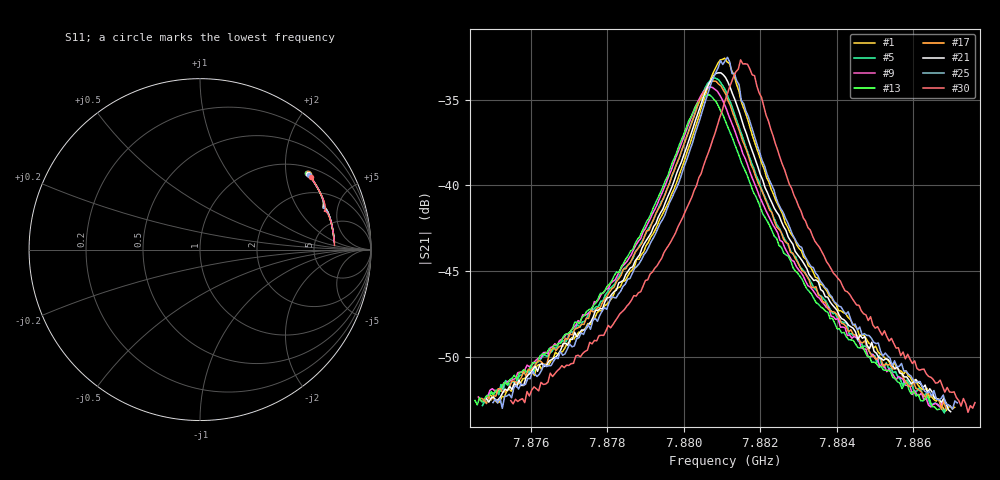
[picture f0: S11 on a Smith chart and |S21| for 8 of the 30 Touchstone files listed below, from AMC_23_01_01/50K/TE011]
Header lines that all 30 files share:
#  HZ  S  DB  R  50.00
! Rohde & Schwarz Vector Network Analyzer
! Rohde-Schwarz,ZNB20-2Port,1311601062101988,3.16
! freq[Hz]  db:S11  ang:S11  db:S21  ang:S21  db:S12  ang:S12  db:S22  ang:S22
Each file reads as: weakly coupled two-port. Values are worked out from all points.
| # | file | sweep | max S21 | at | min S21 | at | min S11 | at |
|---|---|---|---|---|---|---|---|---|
| 1 | 48_ST42.997_UT51.918_H26421.11.s2p | 7.87495 GHz to 7.88708 GHz | -32.57 dB | 7.88107 GHz | -53.2 dB | 7.88684 GHz | -2.4 dB | 7.88101 GHz |
| 2 | 60_ST43.001_UT51.887_H36250.34.s2p | 7.87488 GHz to 7.88701 GHz | -32.88 dB | 7.88089 GHz | -53.3 dB | 7.88701 GHz | -2.4 dB | 7.88089 GHz |
| 3 | 75_ST42.998_UT51.845_H48529.31.s2p | 7.8748 GHz to 7.88693 GHz | -33.50 dB | 7.88086 GHz | -53.4 dB | 7.88674 GHz | -2.4 dB | 7.88086 GHz |
| 4 | 77_ST43.001_UT51.839_H50239.62.s2p | 7.87478 GHz to 7.88691 GHz | -33.57 dB | 7.88079 GHz | -53.1 dB | 7.88691 GHz | -2.4 dB | 7.88079 GHz |
| 5 | 84_ST43.0_UT51.815_H55928.62.s2p | 7.87474 GHz to 7.88687 GHz | -33.72 dB | 7.8808 GHz | -53.3 dB | 7.88681 GHz | -2.3 dB | 7.8808 GHz |
| 6 | 87_ST42.998_UT51.807_H58431.04.s2p | 7.87473 GHz to 7.88686 GHz | -33.81 dB | 7.88079 GHz | -53.2 dB | 7.8868 GHz | -2.3 dB | 7.88079 GHz |
| 7 | 92_ST42.998_UT51.791_H62535.6.s2p | 7.8747 GHz to 7.88683 GHz | -33.99 dB | 7.88077 GHz | -53.2 dB | 7.88683 GHz | -2.3 dB | 7.88071 GHz |
| 8 | 102_ST42.999_UT51.759_H70816.34.s2p | 7.87465 GHz to 7.88678 GHz | -34.22 dB | 7.88071 GHz | -53.0 dB | 7.88659 GHz | -2.3 dB | 7.88077 GHz |
| 9 | 104_ST42.999_UT51.754_H72440.59.s2p | 7.87463 GHz to 7.88676 GHz | -34.25 dB | 7.8807 GHz | -52.9 dB | 7.8867 GHz | -2.3 dB | 7.88064 GHz |
| 10 | 105_ST43.001_UT51.749_H73271.31.s2p | 7.87463 GHz to 7.88676 GHz | -34.28 dB | 7.8807 GHz | -53.3 dB | 7.8867 GHz | -2.3 dB | 7.88076 GHz |
| 11 | 118_ST42.996_UT51.707_H83919.95.s2p | 7.87456 GHz to 7.88669 GHz | -34.61 dB | 7.88063 GHz | -53.1 dB | 7.88657 GHz | -2.3 dB | 7.88057 GHz |
| 12 | 126_ST43.002_UT51.685_H89999.71.s2p | 7.87453 GHz to 7.88666 GHz | -34.75 dB | 7.88059 GHz | -52.9 dB | 7.88666 GHz | -2.3 dB | 7.88059 GHz |
| 13 | 128_ST43.001_UT51.688_H88822.04.s2p | 7.87455 GHz to 7.88668 GHz | -34.71 dB | 7.88067 GHz | -53.1 dB | 7.88662 GHz | -2.3 dB | 7.88061 GHz |
| 14 | 133_ST43.002_UT51.699_H84693.79.s2p | 7.87457 GHz to 7.8867 GHz | -34.62 dB | 7.88069 GHz | -53.0 dB | 7.87457 GHz | -2.3 dB | 7.88063 GHz |
| 15 | 152_ST43.0_UT51.778_H69106.12.s2p | 7.87467 GHz to 7.8868 GHz | -34.19 dB | 7.88079 GHz | -53.0 dB | 7.88674 GHz | -2.4 dB | 7.88073 GHz |
| 16 | 160_ST43.0_UT51.812_H62623.12.s2p | 7.87471 GHz to 7.88685 GHz | -33.99 dB | 7.88078 GHz | -53.2 dB | 7.88678 GHz | -2.4 dB | 7.88078 GHz |
| 17 | 162_ST43.002_UT51.822_H60989.45.s2p | 7.87472 GHz to 7.88686 GHz | -33.90 dB | 7.88073 GHz | -53.1 dB | 7.88673 GHz | -2.4 dB | 7.88079 GHz |
| 18 | 165_ST43.002_UT51.834_H58510.62.s2p | 7.87474 GHz to 7.88688 GHz | -33.86 dB | 7.88081 GHz | -53.1 dB | 7.88663 GHz | -2.4 dB | 7.88087 GHz |
| 19 | 176_ST43.003_UT51.876_H49495.4.s2p | 7.87482 GHz to 7.88695 GHz | -33.52 dB | 7.88088 GHz | -53.2 dB | 7.88695 GHz | -2.4 dB | 7.88088 GHz |
| 20 | 180_ST43.001_UT51.893_H46173.15.s2p | 7.87484 GHz to 7.88697 GHz | -33.45 dB | 7.8809 GHz | -52.9 dB | 7.88697 GHz | -2.4 dB | 7.88084 GHz |
| 21 | 181_ST43.0_UT51.896_H45347.32.s2p | 7.87485 GHz to 7.88698 GHz | -33.42 dB | 7.88091 GHz | -53.2 dB | 7.88698 GHz | -2.4 dB | 7.88091 GHz |
| 22 | 182_ST43.0_UT51.901_H44557.4.s2p | 7.87485 GHz to 7.88698 GHz | -33.38 dB | 7.88092 GHz | -53.0 dB | 7.88698 GHz | -2.4 dB | 7.88092 GHz |
| 23 | 184_ST43.001_UT51.908_H42923.06.s2p | 7.87487 GHz to 7.887 GHz | -33.32 dB | 7.88093 GHz | -53.0 dB | 7.88688 GHz | -2.4 dB | 7.88093 GHz |
| 24 | 192_ST42.999_UT51.941_H36367.62.s2p | 7.87493 GHz to 7.88706 GHz | -32.99 dB | 7.88093 GHz | -53.0 dB | 7.887 GHz | -2.4 dB | 7.88099 GHz |
| 25 | 202_ST43.0_UT51.975_H28156.02.s2p | 7.87502 GHz to 7.88715 GHz | -32.52 dB | 7.88114 GHz | -53.1 dB | 7.88703 GHz | -2.4 dB | 7.88108 GHz |
| 26 | 204_ST42.997_UT51.982_H26538.47.s2p | 7.87501 GHz to 7.88714 GHz | -32.67 dB | 7.88108 GHz | -53.2 dB | 7.88708 GHz | -2.4 dB | 7.88108 GHz |
| 27 | 207_ST43.001_UT51.993_H24091.98.s2p | 7.87505 GHz to 7.88718 GHz | -32.58 dB | 7.88112 GHz | -53.3 dB | 7.88706 GHz | -2.4 dB | 7.88112 GHz |
| 28 | 214_ST43.001_UT52.011_H18320.35.s2p | 7.87509 GHz to 7.88722 GHz | -32.41 dB | 7.88116 GHz | -53.2 dB | 7.8871 GHz | -2.4 dB | 7.88116 GHz |
| 29 | 215_ST42.999_UT52.013_H17493.56.s2p | 7.8751 GHz to 7.88723 GHz | -32.22 dB | 7.88123 GHz | -53.5 dB | 7.88723 GHz | -2.4 dB | 7.88117 GHz |
| 30 | 232_ST43.002_UT52.041_H3619.44.s2p | 7.87548 GHz to 7.88761 GHz | -32.67 dB | 7.88149 GHz | -53.2 dB | 7.88743 GHz | -2.4 dB | 7.88155 GHz |
